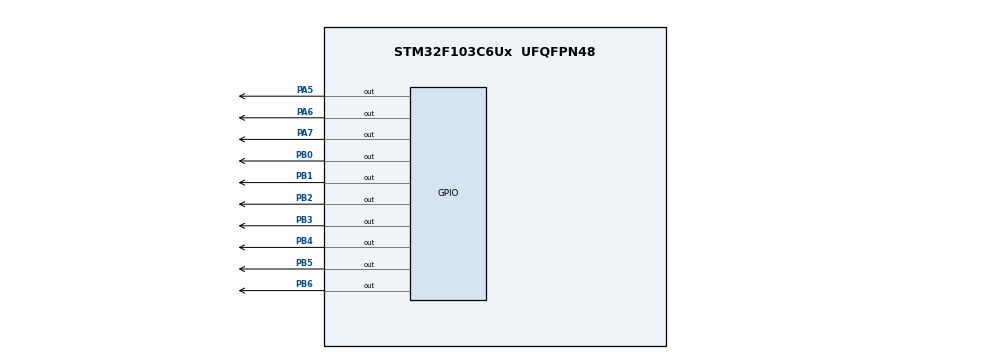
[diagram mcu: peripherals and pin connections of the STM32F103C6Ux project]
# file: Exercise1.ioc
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Mcu.Family=STM32F1
Mcu.Name=STM32F103C6Ux
Mcu.Package=UFQFPN48
NVIC.PriorityGroup=NVIC_PRIORITYGROUP_4
NVIC.TIM2_IRQn=true\:0\:0\:false\:false\:true\:true\:true\:true
PA5.Signal=GPIO_Output
PA6.Signal=GPIO_Output
PA7.Signal=GPIO_Output
PB0.Signal=GPIO_Output
PB1.Signal=GPIO_Output
PB2.Signal=GPIO_Output
PB3.Signal=GPIO_Output
PB4.Signal=GPIO_Output
PB5.Signal=GPIO_Output
PB6.Signal=GPIO_Output
ProjectManager.HeapSize=0x200
ProjectManager.StackSize=0x400
ProjectManager.TargetToolchain=STM32CubeIDE
RCC.APB1Freq_Value=8000000
RCC.APB2Freq_Value=8000000
TIM2.Period=9
TIM2.Prescaler=7999
VP_SYS_VS_ND.Mode=No_Debug
VP_TIM2_VS_ClockSourceINT.Mode=Internal
board=custom

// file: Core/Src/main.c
/* USER CODE BEGIN Header */
/**
  ******************************************************************************
  * @file           : main.c
  * @brief          : Main program body
  ******************************************************************************
  * @attention
  *
  * Copyright (c) 2025 STMicroelectronics.
  * All rights reserved.
  *
  * This software is licensed under terms that can be found in the LICENSE file
  * in the root directory of this software component.
  * If no LICENSE file comes with this software, it is provided AS-IS.
  *
  ******************************************************************************
  */
/* USER CODE END Header */
#include "main.h"

TIM_HandleTypeDef htim2;

void SystemClock_Config(void);
static void MX_GPIO_Init(void);
static void MX_TIM2_Init(void);
/* USER CODE BEGIN PFP */
void display7SEG(int num);
/* USER CODE END PFP */

int main(void)
{

  /* MCU Configuration--------------------------------------------------------*/

  /* Reset of all peripherals, Initializes the Flash interface and the Systick. */
  HAL_Init();

  /* Configure the system clock */
  SystemClock_Config();

  /* Initialize all configured peripherals */
  MX_GPIO_Init();
  MX_TIM2_Init();
  /* USER CODE BEGIN 2 */
  HAL_TIM_Base_Start_IT(&htim2);
  /* USER CODE END 2 */

  /* Infinite loop */
  while (1)
  {

  }
}

void SystemClock_Config(void)
{
  RCC_OscInitTypeDef RCC_OscInitStruct = {0};
  RCC_ClkInitTypeDef RCC_ClkInitStruct = {0};

  /** Initializes the RCC Oscillators according to the specified parameters
  * in the RCC_OscInitTypeDef structure.
  */
  RCC_OscInitStruct.OscillatorType = RCC_OSCILLATORTYPE_HSI;
  RCC_OscInitStruct.HSIState = RCC_HSI_ON;
  RCC_OscInitStruct.HSICalibrationValue = RCC_HSICALIBRATION_DEFAULT;
  RCC_OscInitStruct.PLL.PLLState = RCC_PLL_NONE;
  if (HAL_RCC_OscConfig(&RCC_OscInitStruct) != HAL_OK)
  {
    Error_Handler();
  }

  /** Initializes the CPU, AHB and APB buses clocks
  */
  RCC_ClkInitStruct.ClockType = RCC_CLOCKTYPE_HCLK|RCC_CLOCKTYPE_SYSCLK
                              |RCC_CLOCKTYPE_PCLK1|RCC_CLOCKTYPE_PCLK2;
  RCC_ClkInitStruct.SYSCLKSource = RCC_SYSCLKSOURCE_HSI;
  RCC_ClkInitStruct.AHBCLKDivider = RCC_SYSCLK_DIV1;
  RCC_ClkInitStruct.APB1CLKDivider = RCC_HCLK_DIV1;
  RCC_ClkInitStruct.APB2CLKDivider = RCC_HCLK_DIV1;

  if (HAL_RCC_ClockConfig(&RCC_ClkInitStruct, FLASH_LATENCY_0) != HAL_OK)
  {
    Error_Handler();
  }
}

static void MX_TIM2_Init(void)
{

  TIM_ClockConfigTypeDef sClockSourceConfig = {0};
  TIM_MasterConfigTypeDef sMasterConfig = {0};

  htim2.Instance = TIM2;
  htim2.Init.Prescaler = 7999;
  htim2.Init.CounterMode = TIM_COUNTERMODE_UP;
  htim2.Init.Period = 9;
  htim2.Init.ClockDivision = TIM_CLOCKDIVISION_DIV1;
  htim2.Init.AutoReloadPreload = TIM_AUTORELOAD_PRELOAD_DISABLE;
  if (HAL_TIM_Base_Init(&htim2) != HAL_OK)
  {
    Error_Handler();
  }
  sClockSourceConfig.ClockSource = TIM_CLOCKSOURCE_INTERNAL;
  if (HAL_TIM_ConfigClockSource(&htim2, &sClockSourceConfig) != HAL_OK)
  {
    Error_Handler();
  }
  sMasterConfig.MasterOutputTrigger = TIM_TRGO_RESET;
  sMasterConfig.MasterSlaveMode = TIM_MASTERSLAVEMODE_DISABLE;
  if (HAL_TIMEx_MasterConfigSynchronization(&htim2, &sMasterConfig) != HAL_OK)
  {
    Error_Handler();
  }

}

static void MX_GPIO_Init(void)
{
  GPIO_InitTypeDef GPIO_InitStruct = {0};

  /* GPIO Ports Clock Enable */
  __HAL_RCC_GPIOA_CLK_ENABLE();
  __HAL_RCC_GPIOB_CLK_ENABLE();

  /*Configure GPIO pin Output Level */
  HAL_GPIO_WritePin(GPIOA, GPIO_PIN_5|GPIO_PIN_6|GPIO_PIN_7, GPIO_PIN_RESET);

  /*Configure GPIO pin Output Level */
  HAL_GPIO_WritePin(GPIOB, GPIO_PIN_0|GPIO_PIN_1|GPIO_PIN_2|GPIO_PIN_3
                          |GPIO_PIN_4|GPIO_PIN_5|GPIO_PIN_6, GPIO_PIN_RESET);

  /*Configure GPIO pins : PA5 PA6 PA7 */
  GPIO_InitStruct.Pin = GPIO_PIN_5|GPIO_PIN_6|GPIO_PIN_7;
  GPIO_InitStruct.Mode = GPIO_MODE_OUTPUT_PP;
  GPIO_InitStruct.Pull = GPIO_NOPULL;
  GPIO_InitStruct.Speed = GPIO_SPEED_FREQ_LOW;
  HAL_GPIO_Init(GPIOA, &GPIO_InitStruct);

  /*Configure GPIO pins : PB0 PB1 PB2 PB3
                           PB4 PB5 PB6 */
  GPIO_InitStruct.Pin = GPIO_PIN_0|GPIO_PIN_1|GPIO_PIN_2|GPIO_PIN_3
                          |GPIO_PIN_4|GPIO_PIN_5|GPIO_PIN_6;
  GPIO_InitStruct.Mode = GPIO_MODE_OUTPUT_PP;
  GPIO_InitStruct.Pull = GPIO_NOPULL;
  GPIO_InitStruct.Speed = GPIO_SPEED_FREQ_LOW;
  HAL_GPIO_Init(GPIOB, &GPIO_InitStruct);

}

/* USER CODE BEGIN 4 */
void display7SEG(int num){
  switch(num){
      case 0:
          HAL_GPIO_WritePin(GPIOB, GPIO_PIN_0 | GPIO_PIN_1 | GPIO_PIN_2 | GPIO_PIN_3 | GPIO_PIN_4 | GPIO_PIN_5, RESET);
          HAL_GPIO_WritePin(GPIOB,  GPIO_PIN_6, SET);
          break;
      case 1:
          HAL_GPIO_WritePin(GPIOB, GPIO_PIN_1 | GPIO_PIN_2, RESET);
          HAL_GPIO_WritePin(GPIOB,  GPIO_PIN_0 | GPIO_PIN_3 | GPIO_PIN_4 | GPIO_PIN_5 | GPIO_PIN_6, SET);
          break;
      case 2:
          HAL_GPIO_WritePin(GPIOB, GPIO_PIN_0 | GPIO_PIN_1 | GPIO_PIN_3 | GPIO_PIN_4 | GPIO_PIN_6, RESET);
          HAL_GPIO_WritePin(GPIOB,  GPIO_PIN_2 | GPIO_PIN_5, SET);
          break;
      case 3:
          HAL_GPIO_WritePin(GPIOB, GPIO_PIN_0 | GPIO_PIN_1 | GPIO_PIN_3 | GPIO_PIN_2 | GPIO_PIN_6, RESET);
          HAL_GPIO_WritePin(GPIOB,  GPIO_PIN_4 | GPIO_PIN_5, SET);
          break;
      case 4:
          HAL_GPIO_WritePin(GPIOB, GPIO_PIN_1 | GPIO_PIN_2 | GPIO_PIN_5 | GPIO_PIN_6, RESET);
          HAL_GPIO_WritePin(GPIOB,  GPIO_PIN_0 | GPIO_PIN_3 | GPIO_PIN_4, SET);
          break;
      case 5:
          HAL_GPIO_WritePin(GPIOB, GPIO_PIN_0 | GPIO_PIN_5 | GPIO_PIN_3 | GPIO_PIN_2 | GPIO_PIN_6, RESET);
          HAL_GPIO_WritePin(GPIOB,  GPIO_PIN_4 | GPIO_PIN_1, SET);
          break;
      case 6:
          HAL_GPIO_WritePin(GPIOB, GPIO_PIN_0 | GPIO_PIN_5 | GPIO_PIN_3 | GPIO_PIN_4 | GPIO_PIN_2 | GPIO_PIN_6, RESET);
          HAL_GPIO_WritePin(GPIOB, GPIO_PIN_1, SET);
          break;
      case 7:
          HAL_GPIO_WritePin(GPIOB, GPIO_PIN_0 | GPIO_PIN_1 | GPIO_PIN_2, RESET);
          HAL_GPIO_WritePin(GPIOB, GPIO_PIN_3 | GPIO_PIN_4 | GPIO_PIN_5 | GPIO_PIN_6, SET);
          break;
      case 8:
          HAL_GPIO_WritePin(GPIOB, GPIO_PIN_0 | GPIO_PIN_1 | GPIO_PIN_2 | GPIO_PIN_3 | GPIO_PIN_4 | GPIO_PIN_5 | GPIO_PIN_6, RESET);
          break;
      case 9:
          HAL_GPIO_WritePin(GPIOB, GPIO_PIN_0 | GPIO_PIN_1 | GPIO_PIN_2 | GPIO_PIN_3 | GPIO_PIN_5 | GPIO_PIN_6, RESET);
          HAL_GPIO_WritePin(GPIOB, GPIO_PIN_4, SET);
          break;
      default:
          HAL_GPIO_WritePin(GPIOB, GPIO_PIN_0 | GPIO_PIN_1 | GPIO_PIN_2 | GPIO_PIN_3 | GPIO_PIN_4 | GPIO_PIN_5 | GPIO_PIN_6, SET);
          break;
  }
}

int counter = 0;
int state = 1;
void HAL_TIM_PeriodElapsedCallback(TIM_HandleTypeDef *htim){
	if(counter <= 0){
		switch(state){
		case 1:
			HAL_GPIO_WritePin(GPIOA, GPIO_PIN_6, GPIO_PIN_RESET);
			HAL_GPIO_WritePin(GPIOA, GPIO_PIN_7, GPIO_PIN_SET);
			display7SEG(state);
			state = 2;
			break;
		case 2:
			HAL_GPIO_WritePin(GPIOA, GPIO_PIN_6, GPIO_PIN_SET);
			HAL_GPIO_WritePin(GPIOA, GPIO_PIN_7, GPIO_PIN_RESET);
			display7SEG(state);
			state = 1;
			break;
		}
		HAL_GPIO_TogglePin(GPIOA, GPIO_PIN_5);
		counter = 50;
	}
	counter--;
}
/* USER CODE END 4 */

void Error_Handler(void)
{
  __disable_irq();
  while (1)
  {
  }
}
